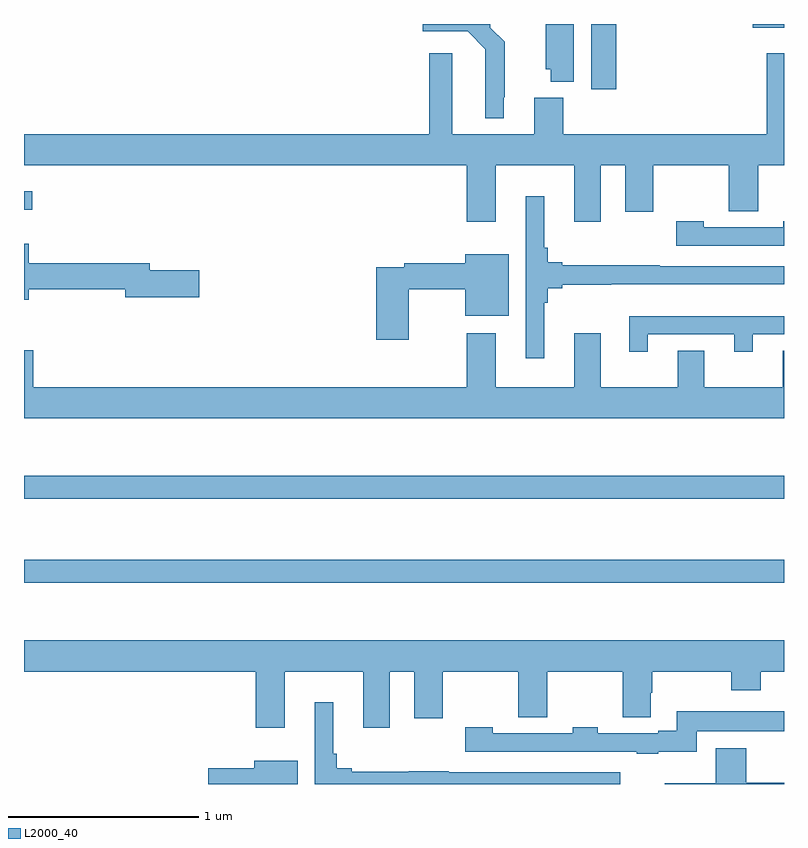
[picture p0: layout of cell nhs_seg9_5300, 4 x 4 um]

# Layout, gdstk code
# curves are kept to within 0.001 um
import gdstk
lib = gdstk.Library(unit=1e-6, precision=1e-09)
def R(c, l, rs):  # rectangles x0, y0, x1, y1
    for r in rs: c.add(gdstk.rectangle(r[:2], r[2:], *l))
def P(c, l, *ps):  # polygons
    for p in ps: c.add(gdstk.Polygon(p, *l))
L2000_40 = (2000, 40)

nhs_seg9_5300 = lib.new_cell('nhs_seg9_5300')
R(nhs_seg9_5300, L2000_40, [(419,1191.558,423,1191.679), (419,1192.002,423,1192.123), (419,1193.523,419.044,1193.62), (421.985,1194.156,422.117,1194.5), (422.835,1194.479,423,1194.5)])
P(nhs_seg9_5300, L2000_40, [(421.894,1194.5),(421.745,1194.5),(421.745,1194.261),(421.772,1194.261),(421.772,1194.197),(421.894,1194.197)],
  [(421.525,1194.115),(421.529,1194.115),(421.529,1194.406),(421.455,1194.48),(421.455,1194.5),(421.098,1194.5),(421.098,1194.461),(421.335,1194.461),(421.428,1194.368),(421.427,1194.005),(421.525,1194.005)],
  [(421.483,1193.756),(421.895,1193.756),(421.895,1193.46),(422.035,1193.46),(422.035,1193.756),(422.165,1193.756),(422.165,1193.511),(422.313,1193.511),(422.313,1193.756),(422.71,1193.756),(422.71,1193.515),(422.864,1193.515),(422.864,1193.756),(423,1193.756),(423,1194.346),(422.909,1194.346),(422.909,1193.92),(421.838,1193.92),(421.838,1194.112),(421.685,1194.112),(421.685,1193.92),(421.255,1193.92),(421.255,1194.346),(421.133,1194.346),(421.133,1193.92),(419,1193.92),(419,1193.756),(421.331,1193.756),(421.331,1193.46),(421.483,1193.46)],
  [(421.738,1193.033),(421.757,1193.033),(421.757,1193.11),(421.834,1193.11),(421.834,1193.128),(422.09,1193.128),(422.09,1193.129),(423,1193.129),(423,1193.226),(422.345,1193.226),(422.345,1193.231),(422.134,1193.231),(422.134,1193.229),(421.834,1193.229),(421.834,1193.246),(421.757,1193.246),(421.757,1193.323),(421.738,1193.323),(421.738,1193.593),(421.641,1193.593),(421.641,1192.74),(421.738,1192.74)],
  [(423,1193.463),(422.997,1193.463),(422.997,1193.43),(422.577,1193.43),(422.577,1193.463),(422.433,1193.463),(422.433,1193.334),(423,1193.334)],
  [(419.026,1193.104),(419.534,1193.104),(419.534,1193.062),(419.923,1193.062),(419.923,1193.204),(419.662,1193.204),(419.662,1193.24),(419.026,1193.24),(419.026,1193.344),(419,1193.344),(419,1193.048),(419.026,1193.048)],
  [(421.024,1193.104),(421.322,1193.104),(421.322,1192.964),(421.552,1192.964),(421.552,1193.287),(421.322,1193.287),(421.322,1193.24),(421,1193.24),(421,1193.22),(420.854,1193.22),(420.854,1192.839),(421.024,1192.839)],
  [(422.284,1192.866),(422.738,1192.866),(422.738,1192.776),(422.836,1192.776),(422.836,1192.866),(423,1192.866),(423,1192.963),(422.186,1192.963),(422.186,1192.776),(422.284,1192.776)],
  [(423,1192.781),(422.993,1192.781),(422.993,1192.588),(422.581,1192.588),(422.581,1192.781),(422.441,1192.781),(422.441,1192.588),(422.035,1192.588),(422.035,1192.873),(421.895,1192.873),(421.895,1192.588),(421.483,1192.588),(421.483,1192.873),(421.331,1192.873),(421.331,1192.588),(419.048,1192.588),(419.048,1192.783),(419,1192.783),(419,1192.424),(423,1192.424)],
  [(420.373,1191.092),(420.785,1191.092),(420.785,1190.796),(420.925,1190.796),(420.925,1191.092),(421.055,1191.092),(421.055,1190.847),(421.203,1190.847),(421.203,1191.092),(421.6,1191.092),(421.6,1190.851),(421.754,1190.851),(421.754,1191.092),(422.152,1191.092),(422.152,1190.851),(422.299,1190.851),(422.299,1190.98),(422.307,1190.98),(422.307,1191.092),(422.722,1191.092),(422.722,1190.993),(422.877,1190.993),(422.877,1191.092),(423,1191.092),(423,1191.256),(419,1191.256),(419,1191.092),(420.221,1191.092),(420.221,1190.796),(420.373,1190.796)],
  [(422.137,1190.562),(421.235,1190.562),(421.235,1190.567),(421.024,1190.567),(421.024,1190.565),(420.724,1190.565),(420.724,1190.582),(420.647,1190.582),(420.647,1190.659),(420.628,1190.659),(420.628,1190.929),(420.531,1190.929),(420.531,1190.5),(422.137,1190.5)],
  [(422.338,1190.669),(422.542,1190.669),(422.542,1190.777),(423,1190.777),(423,1190.884),(422.435,1190.884),(422.435,1190.779),(422.339,1190.779),(422.339,1190.766),(422.019,1190.766),(422.019,1190.799),(421.887,1190.799),(421.887,1190.766),(421.467,1190.766),(421.467,1190.799),(421.323,1190.799),(421.323,1190.67),(422.224,1190.67),(422.224,1190.658),(422.338,1190.658)],
  [(423,1190.506),(422.8,1190.506),(422.8,1190.689),(422.642,1190.689),(422.642,1190.503),(422.373,1190.503),(422.373,1190.5),(423,1190.5)],
  [(420.442,1190.623),(420.212,1190.623),(420.212,1190.582),(419.97,1190.582),(419.97,1190.5),(420.442,1190.5)])

lib.write_gds('nhs_seg9_5300.gds')
